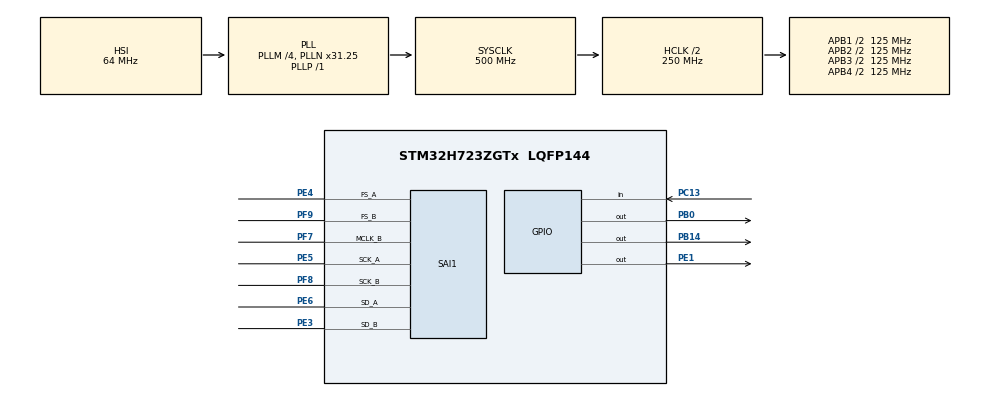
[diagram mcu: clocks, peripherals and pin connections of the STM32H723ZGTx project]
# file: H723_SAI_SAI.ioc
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CORTEX_M7.default_mode_Activation=1
Dma.Request0=SAI1_A
Dma.Request1=SAI1_B
Dma.SAI1_A.0.Direction=DMA_MEMORY_TO_PERIPH
Dma.SAI1_A.0.EventEnable=DISABLE
Dma.SAI1_A.0.FIFOMode=DMA_FIFOMODE_DISABLE
Dma.SAI1_A.0.Instance=DMA1_Stream0
Dma.SAI1_A.0.MemDataAlignment=DMA_MDATAALIGN_WORD
Dma.SAI1_A.0.MemInc=DMA_MINC_ENABLE
Dma.SAI1_A.0.Mode=DMA_CIRCULAR
Dma.SAI1_A.0.PeriphDataAlignment=DMA_PDATAALIGN_WORD
Dma.SAI1_A.0.PeriphInc=DMA_PINC_DISABLE
Dma.SAI1_A.0.Polarity=HAL_DMAMUX_REQ_GEN_RISING
Dma.SAI1_A.0.Priority=DMA_PRIORITY_HIGH
Dma.SAI1_A.0.RequestNumber=1
Dma.SAI1_A.0.SignalID=NONE
Dma.SAI1_A.0.SyncEnable=DISABLE
Dma.SAI1_A.0.SyncPolarity=HAL_DMAMUX_SYNC_NO_EVENT
Dma.SAI1_A.0.SyncRequestNumber=1
Dma.SAI1_A.0.SyncSignalID=NONE
Dma.SAI1_B.1.Direction=DMA_PERIPH_TO_MEMORY
Dma.SAI1_B.1.EventEnable=DISABLE
Dma.SAI1_B.1.FIFOMode=DMA_FIFOMODE_DISABLE
Dma.SAI1_B.1.Instance=DMA1_Stream1
Dma.SAI1_B.1.MemDataAlignment=DMA_MDATAALIGN_WORD
Dma.SAI1_B.1.MemInc=DMA_MINC_ENABLE
Dma.SAI1_B.1.Mode=DMA_CIRCULAR
Dma.SAI1_B.1.PeriphDataAlignment=DMA_PDATAALIGN_WORD
Dma.SAI1_B.1.PeriphInc=DMA_PINC_DISABLE
Dma.SAI1_B.1.Polarity=HAL_DMAMUX_REQ_GEN_RISING
Dma.SAI1_B.1.Priority=DMA_PRIORITY_HIGH
Dma.SAI1_B.1.RequestNumber=1
Dma.SAI1_B.1.SignalID=NONE
Dma.SAI1_B.1.SyncEnable=DISABLE
Dma.SAI1_B.1.SyncPolarity=HAL_DMAMUX_SYNC_NO_EVENT
Dma.SAI1_B.1.SyncRequestNumber=1
Dma.SAI1_B.1.SyncSignalID=NONE
Mcu.Family=STM32H7
Mcu.Name=STM32H723ZGTx
Mcu.Package=LQFP144
NUCLEO-H723ZG.BUTTON=1
NUCLEO-H723ZG.LD1=true
NUCLEO-H723ZG.LD2=true
NUCLEO-H723ZG.LD3=true
NUCLEO-H723ZG.VCP=true
NVIC.DMA1_Stream0_IRQn=true\:0\:0\:false\:false\:true\:false\:true\:true
NVIC.DMA1_Stream1_IRQn=true\:0\:0\:false\:false\:true\:false\:true\:true
NVIC.EXTI15_10_IRQn=true\:0\:0\:false\:false\:true\:false\:true\:true
NVIC.PriorityGroup=NVIC_PRIORITYGROUP_4
NVIC.SAI1_IRQn=true\:0\:0\:false\:false\:true\:true\:true\:true
PA13(JTMS/SWDIO).GPIO_Label=SWDIO
PA13(JTMS/SWDIO).Signal=DEBUG_JTMS-SWDIO
PA14(JTCK/SWCLK).GPIO_Label=SWCLK
PA14(JTCK/SWCLK).Signal=DEBUG_JTCK-SWCLK
PB0.Signal=GPIO_Output
PB14.Signal=GPIO_Output
PC13.Signal=GPIO_Input
PC14-OSC32_IN.Signal=RCC_OSC32_IN
PC15-OSC32_OUT.Signal=RCC_OSC32_OUT
PD8.Signal=USART3_TX
PD9.Signal=USART3_RX
PE1.Signal=GPIO_Output
PE3.Mode=SAI_B_MasterWithClock
PE3.Signal=SAI1_SD_B
PE4.Mode=SAI_A_Master
PE4.Signal=SAI1_FS_A
PE5.Mode=SAI_A_Master
PE5.Signal=SAI1_SCK_A
PE6.Mode=SAI_A_Master
PE6.Signal=SAI1_SD_A
PF7.Mode=SAI_B_MasterWithClock
PF7.Signal=SAI1_MCLK_B
PF8.Mode=SAI_B_MasterWithClock
PF8.Signal=SAI1_SCK_B
PF9.Mode=SAI_B_MasterWithClock
PF9.Signal=SAI1_FS_B
ProjectManager.HeapSize=0x200
ProjectManager.StackSize=0x400
ProjectManager.TargetToolchain=STM32CubeIDE
RCC.ADCFreq_Value=608000000
RCC.APB1Freq_Value=125000000
RCC.APB2Freq_Value=125000000
RCC.APB3Freq_Value=125000000
RCC.APB4Freq_Value=125000000
RCC.CortexFreq_Value=500000000
RCC.D1PPRE=RCC_APB3_DIV2
RCC.D2PPRE1=RCC_APB1_DIV2
RCC.D2PPRE2=RCC_APB2_DIV2
RCC.D3PPRE=RCC_APB4_DIV2
RCC.DIVM1=4
RCC.DIVM2=1
RCC.DIVN1=31
RCC.DIVN2=19
RCC.DIVP1=1
RCC.DIVQ1=44
RCC.HCLKFreq_Value=250000000
RCC.HPRE=RCC_HCLK_DIV2
RCC.HSE_VALUE=8000000
RCC.PLL2FRACN=0
RCC.PLL3FRACN=0
RCC.PLLFRACN=2048
RCC.SYSCLKFreq_VALUE=500000000
RCC.SYSCLKSource=RCC_SYSCLKSOURCE_PLLCLK
RCC.USBCLockSelection=RCC_USBCLKSOURCE_HSI48
RCC.USBFreq_Value=48000000
SAI1.AudioFrequency-SAI_A_Master=SAI_AUDIO_FREQUENCY_44K
SAI1.AudioFrequency-SAI_B_MasterWithClock=SAI_AUDIO_FREQUENCY_44K
SAI1.AudioMode-SAI_A_Master=SAI_MODEMASTER_TX
SAI1.AudioMode-SAI_B_MasterWithClock=SAI_MODEMASTER_RX
SAI1.BasicDataSize-SAI_A_Master=SAI_PROTOCOL_DATASIZE_24BIT
SAI1.BasicDataSize-SAI_B_MasterWithClock=SAI_PROTOCOL_DATASIZE_24BIT
SAI1.ErrorAudioFreq-SAI_A_Master=0.65 %
SAI1.ErrorAudioFreq-SAI_B_MasterWithClock=0.65 %
SAI1.InitProtocol-SAI_A_Master=Enable
SAI1.InitProtocol-SAI_B_MasterWithClock=Enable
SAI1.Instance-SAI_A_Master=SAI$Index_Block_A
SAI1.Instance-SAI_B_MasterWithClock=SAI$Index_Block_B
SAI1.MckOutput-SAI_A_Master=SAI_MCK_OUTPUT_DISABLE
SAI1.MckOutput-SAI_B_MasterWithClock=SAI_MCK_OUTPUT_ENABLE
SAI1.MonoStereoMode-SAI_B_MasterWithClock=SAI_STEREOMODE
SAI1.RealAudioFreq-SAI_A_Master=44.389 KHz
SAI1.RealAudioFreq-SAI_B_MasterWithClock=44.389 KHz
SAI1.VirtualMode-SAI_A_Master=VM_MASTER
SAI1.VirtualMode-SAI_B_MasterWithClock=VM_MASTER
SAI1.VirtualProtocol-SAI_A_BASIC=VM_BASIC_PROTOCOL
SAI1.VirtualProtocol-SAI_B_BASIC=VM_BASIC_PROTOCOL
VP_MEMORYMAP_VS_MEMORYMAP.Mode=CurAppReg
VP_NUCLEO-H723ZG_VS_BSP_COMMON.Mode=COMMON
VP_SAI1_VP_$IpInstance_SAIA_SAI_BASIC.Mode=SAI_A_BASIC
VP_SAI1_VP_$IpInstance_SAIB_SAI_BASIC.Mode=SAI_B_BASIC
board=NUCLEO-H723ZG

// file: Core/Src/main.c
/* USER CODE BEGIN Header */
/**
  ******************************************************************************
  * @file           : main.c
  * @brief          : Main program body
  ******************************************************************************
  * @attention
  *
  * Copyright (c) 2025 STMicroelectronics.
  * All rights reserved.
  *
  * This software is licensed under terms that can be found in the LICENSE file
  * in the root directory of this software component.
  * If no LICENSE file comes with this software, it is provided AS-IS.
  *
  ******************************************************************************
  */
/* USER CODE END Header */
#include "main.h"

COM_InitTypeDef BspCOMInit;

SAI_HandleTypeDef hsai_BlockA1;
SAI_HandleTypeDef hsai_BlockB1;
DMA_HandleTypeDef hdma_sai1_a;
DMA_HandleTypeDef hdma_sai1_b;

void SystemClock_Config(void);
static void MPU_Config(void);
static void MX_GPIO_Init(void);
static void MX_DMA_Init(void);
static void MX_SAI1_Init(void);
/* USER CODE BEGIN PFP */

#define BUFF_SIZE 1024
int buffer_offset = -1;

ALIGN_32BYTES(int32_t I2S_MIC_BUFF[BUFF_SIZE]);
ALIGN_32BYTES(int32_t I2S_SPK_BUFF[BUFF_SIZE]);

void HAL_SAI_RxHalfCpltCallback(SAI_HandleTypeDef *hsai) {

//	for (int i = 0; i < BUFF_SIZE/2; i++) {
//	        int32_t raw = I2S_MIC_BUFF[i]; // Left channel
//	        int32_t sample = (raw << 8) >> 8;  // Sign-extend 24-bit
//
//	        I2S_SPK_BUFF[i]     = sample<<3;  // Left channel to DAC
////	        I2S_SPK_BUFF[i / 2 + 1] = 0;//I2S_SPK_BUFF[i /2] ;       // Right channel muted
//	    }
	buffer_offset = 0;

}
void HAL_SAI_RxCpltCallback(SAI_HandleTypeDef *hsai) {

//	for (int i = BUFF_SIZE/2; i < BUFF_SIZE; i++) {
//	        int32_t raw = I2S_MIC_BUFF[i]; // Left channel
//	        int32_t sample = (raw << 8) >> 8;  // Sign-extend 24-bit
//
//	        I2S_SPK_BUFF[i ]     = sample<<3;
////	        I2S_SPK_BUFF[i / 2 + 1] = 0;//I2S_SPK_BUFF[i / 2] ;
//	    }
	buffer_offset = 1;

}

/* USER CODE END PFP */

int main(void)
{

  /* MPU Configuration--------------------------------------------------------*/
  MPU_Config();

  /* MCU Configuration--------------------------------------------------------*/

  /* Reset of all peripherals, Initializes the Flash interface and the Systick. */
  HAL_Init();

  /* Configure the system clock */
  SystemClock_Config();

  /* Initialize all configured peripherals */
  MX_GPIO_Init();
  MX_DMA_Init();
  MX_SAI1_Init();

  /* Initialize leds */
  BSP_LED_Init(LED_GREEN);
  BSP_LED_Init(LED_YELLOW);
  BSP_LED_Init(LED_RED);

  /* Initialize USER push-button, will be used to trigger an interrupt each time it's pressed.*/
  BSP_PB_Init(BUTTON_USER, BUTTON_MODE_EXTI);

  /* Initialize COM1 port (115200, 8 bits (7-bit data + 1 stop bit), no parity */
  BspCOMInit.BaudRate   = 115200;
  BspCOMInit.WordLength = COM_WORDLENGTH_8B;
  BspCOMInit.StopBits   = COM_STOPBITS_1;
  BspCOMInit.Parity     = COM_PARITY_NONE;
  BspCOMInit.HwFlowCtl  = COM_HWCONTROL_NONE;
  if (BSP_COM_Init(COM1, &BspCOMInit) != BSP_ERROR_NONE)
  {
    Error_Handler();
  }

  /* Infinite loop */
  /* USER CODE BEGIN WHILE */
//  generate_sine_wave();
  HAL_SAI_Receive_DMA(&hsai_BlockB1, (uint8_t*)I2S_MIC_BUFF, BUFF_SIZE);
  HAL_SAI_Transmit_DMA(&hsai_BlockA1, (uint8_t*)I2S_SPK_BUFF, BUFF_SIZE);
  while (1)
  {
	  while(buffer_offset != 0){}
	  for (int i = 0; i < BUFF_SIZE/2; i++) {
	  	        int32_t raw = I2S_MIC_BUFF[i]; // Left channel
	  	        int32_t sample = (raw << 8) >> 8;  // Sign-extend 24-bit

	  	        I2S_SPK_BUFF[i]     = sample<<3;  // Left channel to DAC
	  	    }
	  while(buffer_offset !=1){}
	  for (int i = BUFF_SIZE/2; i < BUFF_SIZE; i++) {
	  	        int32_t raw = I2S_MIC_BUFF[i]; // Left channel
	  	        int32_t sample = (raw << 8) >> 8;  // Sign-extend 24-bit

	  	        I2S_SPK_BUFF[i ]     = sample<<3;
	  	    }
	  HAL_GPIO_TogglePin(LED1_GPIO_PORT, LED1_PIN);
	  buffer_offset = -1;
//	  HAL_Delay(1000);
    /* USER CODE END WHILE */

  }
}

void SystemClock_Config(void)
{
  RCC_OscInitTypeDef RCC_OscInitStruct = {0};
  RCC_ClkInitTypeDef RCC_ClkInitStruct = {0};

  /** Supply configuration update enable
  */
  HAL_PWREx_ConfigSupply(PWR_LDO_SUPPLY);

  /** Configure the main internal regulator output voltage
  */
  __HAL_PWR_VOLTAGESCALING_CONFIG(PWR_REGULATOR_VOLTAGE_SCALE0);

  while(!__HAL_PWR_GET_FLAG(PWR_FLAG_VOSRDY)) {}

  /** Initializes the RCC Oscillators according to the specified parameters
  * in the RCC_OscInitTypeDef structure.
  */
  RCC_OscInitStruct.OscillatorType = RCC_OSCILLATORTYPE_HSI;
  RCC_OscInitStruct.HSIState = RCC_HSI_DIV1;
  RCC_OscInitStruct.HSICalibrationValue = 64;
  RCC_OscInitStruct.PLL.PLLState = RCC_PLL_ON;
  RCC_OscInitStruct.PLL.PLLSource = RCC_PLLSOURCE_HSI;
  RCC_OscInitStruct.PLL.PLLM = 4;
  RCC_OscInitStruct.PLL.PLLN = 31;
  RCC_OscInitStruct.PLL.PLLP = 1;
  RCC_OscInitStruct.PLL.PLLQ = 44;
  RCC_OscInitStruct.PLL.PLLR = 2;
  RCC_OscInitStruct.PLL.PLLRGE = RCC_PLL1VCIRANGE_3;
  RCC_OscInitStruct.PLL.PLLVCOSEL = RCC_PLL1VCOWIDE;
  RCC_OscInitStruct.PLL.PLLFRACN = 2048;
  if (HAL_RCC_OscConfig(&RCC_OscInitStruct) != HAL_OK)
  {
    Error_Handler();
  }

  /** Initializes the CPU, AHB and APB buses clocks
  */
  RCC_ClkInitStruct.ClockType = RCC_CLOCKTYPE_HCLK|RCC_CLOCKTYPE_SYSCLK
                              |RCC_CLOCKTYPE_PCLK1|RCC_CLOCKTYPE_PCLK2
                              |RCC_CLOCKTYPE_D3PCLK1|RCC_CLOCKTYPE_D1PCLK1;
  RCC_ClkInitStruct.SYSCLKSource = RCC_SYSCLKSOURCE_PLLCLK;
  RCC_ClkInitStruct.SYSCLKDivider = RCC_SYSCLK_DIV1;
  RCC_ClkInitStruct.AHBCLKDivider = RCC_HCLK_DIV2;
  RCC_ClkInitStruct.APB3CLKDivider = RCC_APB3_DIV2;
  RCC_ClkInitStruct.APB1CLKDivider = RCC_APB1_DIV2;
  RCC_ClkInitStruct.APB2CLKDivider = RCC_APB2_DIV2;
  RCC_ClkInitStruct.APB4CLKDivider = RCC_APB4_DIV2;

  if (HAL_RCC_ClockConfig(&RCC_ClkInitStruct, FLASH_LATENCY_3) != HAL_OK)
  {
    Error_Handler();
  }
}

static void MX_SAI1_Init(void)
{

  hsai_BlockA1.Instance = SAI1_Block_A;
  hsai_BlockA1.Init.AudioMode = SAI_MODEMASTER_TX;
  hsai_BlockA1.Init.Synchro = SAI_ASYNCHRONOUS;
  hsai_BlockA1.Init.OutputDrive = SAI_OUTPUTDRIVE_DISABLE;
  hsai_BlockA1.Init.NoDivider = SAI_MASTERDIVIDER_ENABLE;
  hsai_BlockA1.Init.FIFOThreshold = SAI_FIFOTHRESHOLD_EMPTY;
  hsai_BlockA1.Init.AudioFrequency = SAI_AUDIO_FREQUENCY_44K;
  hsai_BlockA1.Init.SynchroExt = SAI_SYNCEXT_DISABLE;
  hsai_BlockA1.Init.MonoStereoMode = SAI_STEREOMODE;
  hsai_BlockA1.Init.CompandingMode = SAI_NOCOMPANDING;
  hsai_BlockA1.Init.TriState = SAI_OUTPUT_NOTRELEASED;
  if (HAL_SAI_InitProtocol(&hsai_BlockA1, SAI_I2S_STANDARD, SAI_PROTOCOL_DATASIZE_24BIT, 2) != HAL_OK)
  {
    Error_Handler();
  }
  hsai_BlockB1.Instance = SAI1_Block_B;
  hsai_BlockB1.Init.AudioMode = SAI_MODEMASTER_RX;
  hsai_BlockB1.Init.Synchro = SAI_ASYNCHRONOUS;
  hsai_BlockB1.Init.OutputDrive = SAI_OUTPUTDRIVE_DISABLE;
  hsai_BlockB1.Init.NoDivider = SAI_MASTERDIVIDER_ENABLE;
  hsai_BlockB1.Init.FIFOThreshold = SAI_FIFOTHRESHOLD_EMPTY;
  hsai_BlockB1.Init.AudioFrequency = SAI_AUDIO_FREQUENCY_44K;
  hsai_BlockB1.Init.SynchroExt = SAI_SYNCEXT_DISABLE;
  hsai_BlockB1.Init.MonoStereoMode = SAI_STEREOMODE;
  hsai_BlockB1.Init.CompandingMode = SAI_NOCOMPANDING;
  if (HAL_SAI_InitProtocol(&hsai_BlockB1, SAI_I2S_STANDARD, SAI_PROTOCOL_DATASIZE_24BIT, 2) != HAL_OK)
  {
    Error_Handler();
  }

}

static void MX_DMA_Init(void)
{

  /* DMA controller clock enable */
  __HAL_RCC_DMA1_CLK_ENABLE();

  /* DMA interrupt init */
  /* DMA1_Stream0_IRQn interrupt configuration */
  HAL_NVIC_SetPriority(DMA1_Stream0_IRQn, 0, 0);
  HAL_NVIC_EnableIRQ(DMA1_Stream0_IRQn);
  /* DMA1_Stream1_IRQn interrupt configuration */
  HAL_NVIC_SetPriority(DMA1_Stream1_IRQn, 0, 0);
  HAL_NVIC_EnableIRQ(DMA1_Stream1_IRQn);

}

static void MX_GPIO_Init(void)
{

  /* GPIO Ports Clock Enable */
  __HAL_RCC_GPIOE_CLK_ENABLE();
  __HAL_RCC_GPIOC_CLK_ENABLE();
  __HAL_RCC_GPIOF_CLK_ENABLE();
  __HAL_RCC_GPIOA_CLK_ENABLE();

}

 /* MPU Configuration */

void MPU_Config(void)
{
  MPU_Region_InitTypeDef MPU_InitStruct = {0};

  /* Disables the MPU */
  HAL_MPU_Disable();

  /** Initializes and configures the Region and the memory to be protected
  */
  MPU_InitStruct.Enable = MPU_REGION_ENABLE;
  MPU_InitStruct.Number = MPU_REGION_NUMBER0;
  MPU_InitStruct.BaseAddress = 0x0;
  MPU_InitStruct.Size = MPU_REGION_SIZE_4GB;
  MPU_InitStruct.SubRegionDisable = 0x87;
  MPU_InitStruct.TypeExtField = MPU_TEX_LEVEL0;
  MPU_InitStruct.AccessPermission = MPU_REGION_NO_ACCESS;
  MPU_InitStruct.DisableExec = MPU_INSTRUCTION_ACCESS_DISABLE;
  MPU_InitStruct.IsShareable = MPU_ACCESS_SHAREABLE;
  MPU_InitStruct.IsCacheable = MPU_ACCESS_NOT_CACHEABLE;
  MPU_InitStruct.IsBufferable = MPU_ACCESS_NOT_BUFFERABLE;

  HAL_MPU_ConfigRegion(&MPU_InitStruct);
  /* Enables the MPU */
  HAL_MPU_Enable(MPU_PRIVILEGED_DEFAULT);

}

void Error_Handler(void)
{
  __disable_irq();
  while (1)
  {
  }
}
